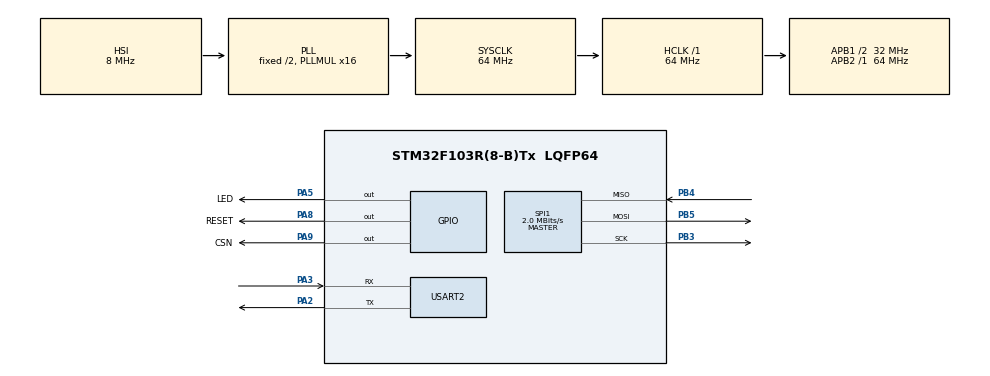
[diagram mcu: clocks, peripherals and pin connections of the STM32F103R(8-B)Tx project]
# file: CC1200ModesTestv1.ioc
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Mcu.Family=STM32F1
Mcu.Name=STM32F103R(8-B)Tx
Mcu.Package=LQFP64
NVIC.PriorityGroup=NVIC_PRIORITYGROUP_4
PA2.Mode=Asynchronous
PA2.Signal=USART2_TX
PA3.Mode=Asynchronous
PA3.Signal=USART2_RX
PA5.GPIO_Label=LED
PA5.Signal=GPIO_Output
PA8.GPIO_Label=RESET
PA8.Signal=GPIO_Output
PA9.GPIO_Label=CSN
PA9.Signal=GPIO_Output
PB3.Mode=Full_Duplex_Master
PB3.Signal=SPI1_SCK
PB4.Mode=Full_Duplex_Master
PB4.Signal=SPI1_MISO
PB5.Mode=Full_Duplex_Master
PB5.Signal=SPI1_MOSI
ProjectManager.HeapSize=0x200
ProjectManager.StackSize=0x400
ProjectManager.TargetToolchain=MDK-ARM V5
RCC.AHBFreq_Value=64000000
RCC.APB1CLKDivider=RCC_HCLK_DIV2
RCC.APB1Freq_Value=32000000
RCC.APB1TimFreq_Value=64000000
RCC.APB2Freq_Value=64000000
RCC.APB2TimFreq_Value=64000000
RCC.HCLKFreq_Value=64000000
RCC.PLLMUL=RCC_PLL_MUL16
RCC.RTCClockSelection=RCC_RTCCLKSOURCE_LSE
RCC.SYSCLKFreq_VALUE=64000000
RCC.SYSCLKSource=RCC_SYSCLKSOURCE_PLLCLK
RCC.USBFreq_Value=64000000
SPI1.BaudRatePrescaler=SPI_BAUDRATEPRESCALER_32
SPI1.CalculateBaudRate=2.0 MBits/s
SPI1.Direction=SPI_DIRECTION_2LINES
SPI1.Mode=SPI_MODE_MASTER
SPI1.VirtualType=VM_MASTER
USART2.VirtualMode=VM_ASYNC
VP_SYS_VS_ND.Mode=No_Debug
board=NUCLEO-F103RB

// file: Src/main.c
/* USER CODE BEGIN Header */
/**
  ******************************************************************************
  * @file           : main.c
  * @brief          : Main program body
  ******************************************************************************
  ** This notice applies to any and all portions of this file
  * that are not between comment pairs USER CODE BEGIN and
  * USER CODE END. Other portions of this file, whether
  * inserted by the user or by software development tools
  * are owned by their respective copyright owners.
  *
  * COPYRIGHT(c) 2019 STMicroelectronics
  *
  * Redistribution and use in source and binary forms, with or without modification,
  * are permitted provided that the following conditions are met:
  *   1. Redistributions of source code must retain the above copyright notice,
  *      this list of conditions and the following disclaimer.
  *   2. Redistributions in binary form must reproduce the above copyright notice,
  *      this list of conditions and the following disclaimer in the documentation
  *      and/or other materials provided with the distribution.
  *   3. Neither the name of STMicroelectronics nor the names of its contributors
  *      may be used to endorse or promote products derived from this software
  *      without specific prior written permission.
  *
  * THIS SOFTWARE IS PROVIDED BY THE COPYRIGHT HOLDERS AND CONTRIBUTORS "AS IS"
  * AND ANY EXPRESS OR IMPLIED WARRANTIES, INCLUDING, BUT NOT LIMITED TO, THE
  * IMPLIED WARRANTIES OF MERCHANTABILITY AND FITNESS FOR A PARTICULAR PURPOSE ARE
  * DISCLAIMED. IN NO EVENT SHALL THE COPYRIGHT HOLDER OR CONTRIBUTORS BE LIABLE
  * FOR ANY DIRECT, INDIRECT, INCIDENTAL, SPECIAL, EXEMPLARY, OR CONSEQUENTIAL
  * DAMAGES (INCLUDING, BUT NOT LIMITED TO, PROCUREMENT OF SUBSTITUTE GOODS OR
  * SERVICES; LOSS OF USE, DATA, OR PROFITS; OR BUSINESS INTERRUPTION) HOWEVER
  * CAUSED AND ON ANY THEORY OF LIABILITY, WHETHER IN CONTRACT, STRICT LIABILITY,
  * OR TORT (INCLUDING NEGLIGENCE OR OTHERWISE) ARISING IN ANY WAY OUT OF THE USE
  * OF THIS SOFTWARE, EVEN IF ADVISED OF THE POSSIBILITY OF SUCH DAMAGE.
  *
  ******************************************************************************
  */
/* USER CODE END Header */

#include "main.h"

/* USER CODE BEGIN Includes */

#include "string.h"

/* USER CODE END Includes */

SPI_HandleTypeDef hspi1;

UART_HandleTypeDef huart2;

void SystemClock_Config(void);
static void MX_GPIO_Init(void);
static void MX_SPI1_Init(void);
static void MX_USART2_UART_Init(void);
/* USER CODE BEGIN PFP */

void trxRfSpiInterfaceInit(uint8_t prescalerValue);
uint8_t trx8BitRegAccess(uint8_t accessType, uint8_t addrByte, uint8_t *pData, int len);

/* USER CODE END PFP */

/* USER CODE BEGIN 0 */

//#define SPI_BEGIN()       SPI_CS_N_PIN = 0                // Pull CSn low to start communication
#define SPI_TX(x)         HAL_SPI_Transmit(&hspi1, x, 1, 10)                    // Load x into SPI buffer
#define SPI_WAIT_READY()  while (HAL_SPI_GetState(&hspi1) != HAL_SPI_STATE_READY)   // Wait for receive buffer to fill
#define SPI_RX(x)         HAL_SPI_Receive(&hspi1, x, 1, 10)                        // SPI buffer to read
//#define SPI_END()         SPI_CS_N_PIN = 1                // Pull CSn high to end communication

#define RADIO_BURST_ACCESS   0x40
#define RADIO_SINGLE_ACCESS  0x00
#define RADIO_READ_ACCESS    0x80
#define RADIO_WRITE_ACCESS   0x00

//#define SPI_TX SPI_WriteByte
//#define SPI_RX SPI_ReadByte

#define RADIO_IDLE 0x36
#define RADIO_NOP 0x3D
#define RADIO_RX 0x34
#define RADIO_TX 0x35

uint8_t pDataRead;

/* USER CODE END 0 */

int main(void)
{

  /* MCU Configuration--------------------------------------------------------*/

  /* Reset of all peripherals, Initializes the Flash interface and the Systick. */
  HAL_Init();

  /* Configure the system clock */
  SystemClock_Config();

  /* Initialize all configured peripherals */
  MX_GPIO_Init();
  MX_SPI1_Init();
  MX_USART2_UART_Init();
  /* USER CODE BEGIN 2 */

/* Start CC1200 SPI Test Harness
	 *
	 * Wiring:
	 * Reset -- D7 (PA8)
	 * CSN   -- D8 (PA9)
	 * SCLK  -- D3 (PB3)
	 * MOSI  -- D4 (PB5)
	 * MISO  -- D5 (PB4)
	 */

//	//Set CS high
	HAL_GPIO_WritePin(GPIOA, GPIO_PIN_9, GPIO_PIN_SET);

	//Set reset high, low, high to begin
	HAL_GPIO_WritePin(GPIOA, GPIO_PIN_8, GPIO_PIN_SET);
	HAL_Delay(10);
	HAL_GPIO_WritePin(GPIOA, GPIO_PIN_8, GPIO_PIN_RESET);
	HAL_Delay(10);
	HAL_GPIO_WritePin(GPIOA, GPIO_PIN_8, GPIO_PIN_SET);
	HAL_Delay(10);

//  //Simple tutorial mode switch
//	//Read Data
//	//1. Set CS low
//	HAL_GPIO_WritePin(GPIOA, GPIO_PIN_9, GPIO_PIN_RESET);
//	//2. Transmit Command Strobe Address
//	HAL_SPI_Transmit(&hspi1, spiIn, 1, 10);
//	//3. Transmit a NOP for the one operation delay
//	HAL_SPI_Receive(&hspi1, &spiIn[1], 1, 10);
//	//4. Set CS high
//	HAL_GPIO_WritePin(GPIOA, GPIO_PIN_9, GPIO_PIN_SET);

	volatile uint8_t stByte;
  uint8_t wrData = 0x55;
	uint8_t correct = 0;
	uint8_t testOpener [35] = "\r\n\r\nCC1200 Mode Switching Test...\r\n";
	uint8_t idleOpener [14] = "Idle Mode...  ";
	uint8_t txOpener [14] = "TX Mode...    ";
	uint8_t rxOpener [14] = "RX Mode...    ";
	uint8_t statusCheck [28];
	snprintf(statusCheck, sizeof(statusCheck), "Status byte is 0x.2%u, [%u/3]\r\n", stByte, correct);

//    uint8_t addr;

	HAL_UART_Transmit(&huart2, testOpener, sizeof(testOpener), 1);

	// IDLE test
	HAL_UART_Transmit(&huart2, idleOpener, sizeof(idleOpener), 1);
	stByte = trx8BitRegAccess(RADIO_WRITE_ACCESS | RADIO_SINGLE_ACCESS, RADIO_IDLE, &wrData, sizeof (wrData));
	HAL_Delay(10);
	stByte = trx8BitRegAccess(RADIO_WRITE_ACCESS | RADIO_SINGLE_ACCESS, RADIO_NOP, &wrData, sizeof (wrData));
	HAL_Delay(10);
	if((stByte>>4) == 0){
		correct++;
	}

	// TX test
	snprintf(statusCheck, sizeof(statusCheck), "Status byte is 0x%.2X, [%u/3]\r\n", stByte, correct);
	HAL_UART_Transmit(&huart2, statusCheck, sizeof(statusCheck), 1);

	HAL_UART_Transmit(&huart2, txOpener, sizeof(txOpener), 1);
	stByte = trx8BitRegAccess(RADIO_WRITE_ACCESS | RADIO_SINGLE_ACCESS, RADIO_TX, &wrData, sizeof (wrData));
	HAL_Delay(10);
	stByte = trx8BitRegAccess(RADIO_WRITE_ACCESS | RADIO_SINGLE_ACCESS, RADIO_NOP, &wrData, sizeof (wrData));
	HAL_Delay(10);

	if((stByte>>4) == 2){
		correct++;
	}

	// RX test
	snprintf(statusCheck, sizeof(statusCheck), "Status byte is 0x%.2X, [%u/3]\r\n", stByte, correct);
	HAL_UART_Transmit(&huart2, statusCheck, sizeof(statusCheck), 1);

	HAL_UART_Transmit(&huart2, rxOpener, sizeof(rxOpener), 1);
	stByte = trx8BitRegAccess(RADIO_WRITE_ACCESS | RADIO_SINGLE_ACCESS, RADIO_RX, &wrData, sizeof (wrData));
	HAL_Delay(10);
	stByte = trx8BitRegAccess(RADIO_WRITE_ACCESS | RADIO_SINGLE_ACCESS, RADIO_NOP, &wrData, sizeof (wrData));
	HAL_Delay(10);

	// TX test
	snprintf(statusCheck, sizeof(statusCheck), "Status byte is 0x%.2X, [%u/3]\r\n", stByte, correct);
	HAL_UART_Transmit(&huart2, statusCheck, sizeof(statusCheck), 1);

	HAL_UART_Transmit(&huart2, txOpener, sizeof(txOpener), 1);
	stByte = trx8BitRegAccess(RADIO_WRITE_ACCESS | RADIO_SINGLE_ACCESS, RADIO_TX, &wrData, sizeof (wrData));
	HAL_Delay(10);
	stByte = trx8BitRegAccess(RADIO_WRITE_ACCESS | RADIO_SINGLE_ACCESS, RADIO_NOP, &wrData, sizeof (wrData));
	HAL_Delay(10);

	// RX test
	snprintf(statusCheck, sizeof(statusCheck), "Status byte is 0x%.2X, [%u/3]\r\n", stByte, correct);
	HAL_UART_Transmit(&huart2, statusCheck, sizeof(statusCheck), 1);

	HAL_UART_Transmit(&huart2, rxOpener, sizeof(rxOpener), 1);
	stByte = trx8BitRegAccess(RADIO_WRITE_ACCESS | RADIO_SINGLE_ACCESS, RADIO_RX, &wrData, sizeof (wrData));
	HAL_Delay(10);
	stByte = trx8BitRegAccess(RADIO_WRITE_ACCESS | RADIO_SINGLE_ACCESS, RADIO_NOP, &wrData, sizeof (wrData));
	HAL_Delay(10);

	if((stByte>>4) == 2){
		correct++;
	}

	if((stByte>>4) == 1){
		correct++;
	}

	// TEST RESULTS

	snprintf(statusCheck, sizeof(statusCheck), "Status byte is 0x%.2X, [%u/3]\r\n", stByte, correct);
	HAL_UART_Transmit(&huart2, statusCheck, sizeof(statusCheck), 1);

	if (correct == 6){
		uint8_t finishMsg [48] = "[3/3] Success! Mode switching is operational\r\n";
		HAL_UART_Transmit(&huart2, finishMsg, sizeof(finishMsg), 1);
	} else {
		uint8_t finishMsg [76];
		snprintf(finishMsg, sizeof(finishMsg), "[%u/3] Mode switching failure... check your wiring and pin initialization\r\n", correct);
		HAL_UART_Transmit(&huart2, finishMsg, sizeof(finishMsg), 1);
	}

  /* USER CODE END 2 */

  /* Infinite loop */
  while (1)
  {

  }
}

void SystemClock_Config(void)
{
  RCC_OscInitTypeDef RCC_OscInitStruct = {0};
  RCC_ClkInitTypeDef RCC_ClkInitStruct = {0};

  /**Initializes the CPU, AHB and APB busses clocks
  */
  RCC_OscInitStruct.OscillatorType = RCC_OSCILLATORTYPE_HSI;
  RCC_OscInitStruct.HSIState = RCC_HSI_ON;
  RCC_OscInitStruct.HSICalibrationValue = RCC_HSICALIBRATION_DEFAULT;
  RCC_OscInitStruct.PLL.PLLState = RCC_PLL_ON;
  RCC_OscInitStruct.PLL.PLLSource = RCC_PLLSOURCE_HSI_DIV2;
  RCC_OscInitStruct.PLL.PLLMUL = RCC_PLL_MUL16;
  if (HAL_RCC_OscConfig(&RCC_OscInitStruct) != HAL_OK)
  {
    Error_Handler();
  }
  /**Initializes the CPU, AHB and APB busses clocks
  */
  RCC_ClkInitStruct.ClockType = RCC_CLOCKTYPE_HCLK|RCC_CLOCKTYPE_SYSCLK
                              |RCC_CLOCKTYPE_PCLK1|RCC_CLOCKTYPE_PCLK2;
  RCC_ClkInitStruct.SYSCLKSource = RCC_SYSCLKSOURCE_PLLCLK;
  RCC_ClkInitStruct.AHBCLKDivider = RCC_SYSCLK_DIV1;
  RCC_ClkInitStruct.APB1CLKDivider = RCC_HCLK_DIV2;
  RCC_ClkInitStruct.APB2CLKDivider = RCC_HCLK_DIV1;

  if (HAL_RCC_ClockConfig(&RCC_ClkInitStruct, FLASH_LATENCY_2) != HAL_OK)
  {
    Error_Handler();
  }
}

static void MX_SPI1_Init(void)
{

  /* SPI1 parameter configuration*/
  hspi1.Instance = SPI1;
  hspi1.Init.Mode = SPI_MODE_MASTER;
  hspi1.Init.Direction = SPI_DIRECTION_2LINES;
  hspi1.Init.DataSize = SPI_DATASIZE_8BIT;
  hspi1.Init.CLKPolarity = SPI_POLARITY_LOW;
  hspi1.Init.CLKPhase = SPI_PHASE_1EDGE;
  hspi1.Init.NSS = SPI_NSS_SOFT;
  hspi1.Init.BaudRatePrescaler = SPI_BAUDRATEPRESCALER_32;
  hspi1.Init.FirstBit = SPI_FIRSTBIT_MSB;
  hspi1.Init.TIMode = SPI_TIMODE_DISABLE;
  hspi1.Init.CRCCalculation = SPI_CRCCALCULATION_DISABLE;
  hspi1.Init.CRCPolynomial = 10;
  if (HAL_SPI_Init(&hspi1) != HAL_OK)
  {
    Error_Handler();
  }

}

static void MX_USART2_UART_Init(void)
{

  huart2.Instance = USART2;
  huart2.Init.BaudRate = 115200;
  huart2.Init.WordLength = UART_WORDLENGTH_8B;
  huart2.Init.StopBits = UART_STOPBITS_1;
  huart2.Init.Parity = UART_PARITY_NONE;
  huart2.Init.Mode = UART_MODE_TX_RX;
  huart2.Init.HwFlowCtl = UART_HWCONTROL_NONE;
  huart2.Init.OverSampling = UART_OVERSAMPLING_16;
  if (HAL_UART_Init(&huart2) != HAL_OK)
  {
    Error_Handler();
  }

}

static void MX_GPIO_Init(void)
{
  GPIO_InitTypeDef GPIO_InitStruct = {0};

  /* GPIO Ports Clock Enable */
  __HAL_RCC_GPIOA_CLK_ENABLE();
  __HAL_RCC_GPIOB_CLK_ENABLE();

  /*Configure GPIO pin Output Level */
  HAL_GPIO_WritePin(GPIOA, LED_Pin|RESET_Pin|CSN_Pin, GPIO_PIN_RESET);

  /*Configure GPIO pins : LED_Pin RESET_Pin CSN_Pin */
  GPIO_InitStruct.Pin = LED_Pin|RESET_Pin|CSN_Pin;
  GPIO_InitStruct.Mode = GPIO_MODE_OUTPUT_PP;
  GPIO_InitStruct.Pull = GPIO_NOPULL;
  GPIO_InitStruct.Speed = GPIO_SPEED_FREQ_LOW;
  HAL_GPIO_Init(GPIOA, &GPIO_InitStruct);

}

/* USER CODE BEGIN 4 */

static void trxReadWriteBurstSingle(uint8_t addr, uint8_t *pData, int len)
{
    int i;
    uint8_t dummy;
	pDataRead = *pData;
    /* Communicate len number of bytes: if RX - the procedure sends 0x00 to push bytes from slave*/
    if (addr & RADIO_READ_ACCESS) {
        if (addr & RADIO_BURST_ACCESS) {
            for (i = 0; i < len; i++) {

								HAL_SPI_Transmit(&hspi1,0x0, 1, 10);
                while (HAL_SPI_GetState(&hspi1) != HAL_SPI_STATE_READY);
                HAL_SPI_Receive(&hspi1, pData, 1, 10);
                pData++;

            }
        } else {
						HAL_SPI_Transmit(&hspi1,0x0, 1, 10);
            while (HAL_SPI_GetState(&hspi1) != HAL_SPI_STATE_READY);
            HAL_SPI_Receive(&hspi1, pData, 1, 10);
        }
    } else {
        if (addr & RADIO_BURST_ACCESS) {
            /* Communicate len number of bytes: if TX - the procedure doesn't overwrite pData */
            for (i = 0; i < len; i++) {
								HAL_SPI_Transmit(&hspi1,pData, 1, 10);
                while (HAL_SPI_GetState(&hspi1) != HAL_SPI_STATE_READY);
								HAL_SPI_Receive(&hspi1, &dummy, 1, 10);
                pData++;
            }
        } else {
						HAL_SPI_Transmit(&hspi1,pData, 1, 10);
            while (HAL_SPI_GetState(&hspi1) != HAL_SPI_STATE_READY);
						HAL_SPI_Receive(&hspi1, &dummy, 1, 10);
        }
    }
}

uint8_t trx8BitRegAccess(uint8_t accessType, uint8_t addrByte, uint8_t *pData, int len)
{
	uint8_t addr;
	uint8_t readValue;
	addr = accessType | addrByte;

	HAL_GPIO_WritePin(GPIOA, GPIO_PIN_9, GPIO_PIN_RESET);

	HAL_SPI_Transmit(&hspi1,&addr, 1, 10);
	while (HAL_SPI_GetState(&hspi1) != HAL_SPI_STATE_READY){};
	HAL_SPI_Receive(&hspi1, &readValue, 1, 10);
  trxReadWriteBurstSingle(accessType | addrByte, pData, len);

	HAL_GPIO_WritePin(GPIOA, GPIO_PIN_9, GPIO_PIN_SET);

  return (readValue);
}

/* USER CODE END 4 */

void Error_Handler(void)
{
}

/************************ (C) COPYRIGHT STMicroelectronics *****END OF FILE****/
